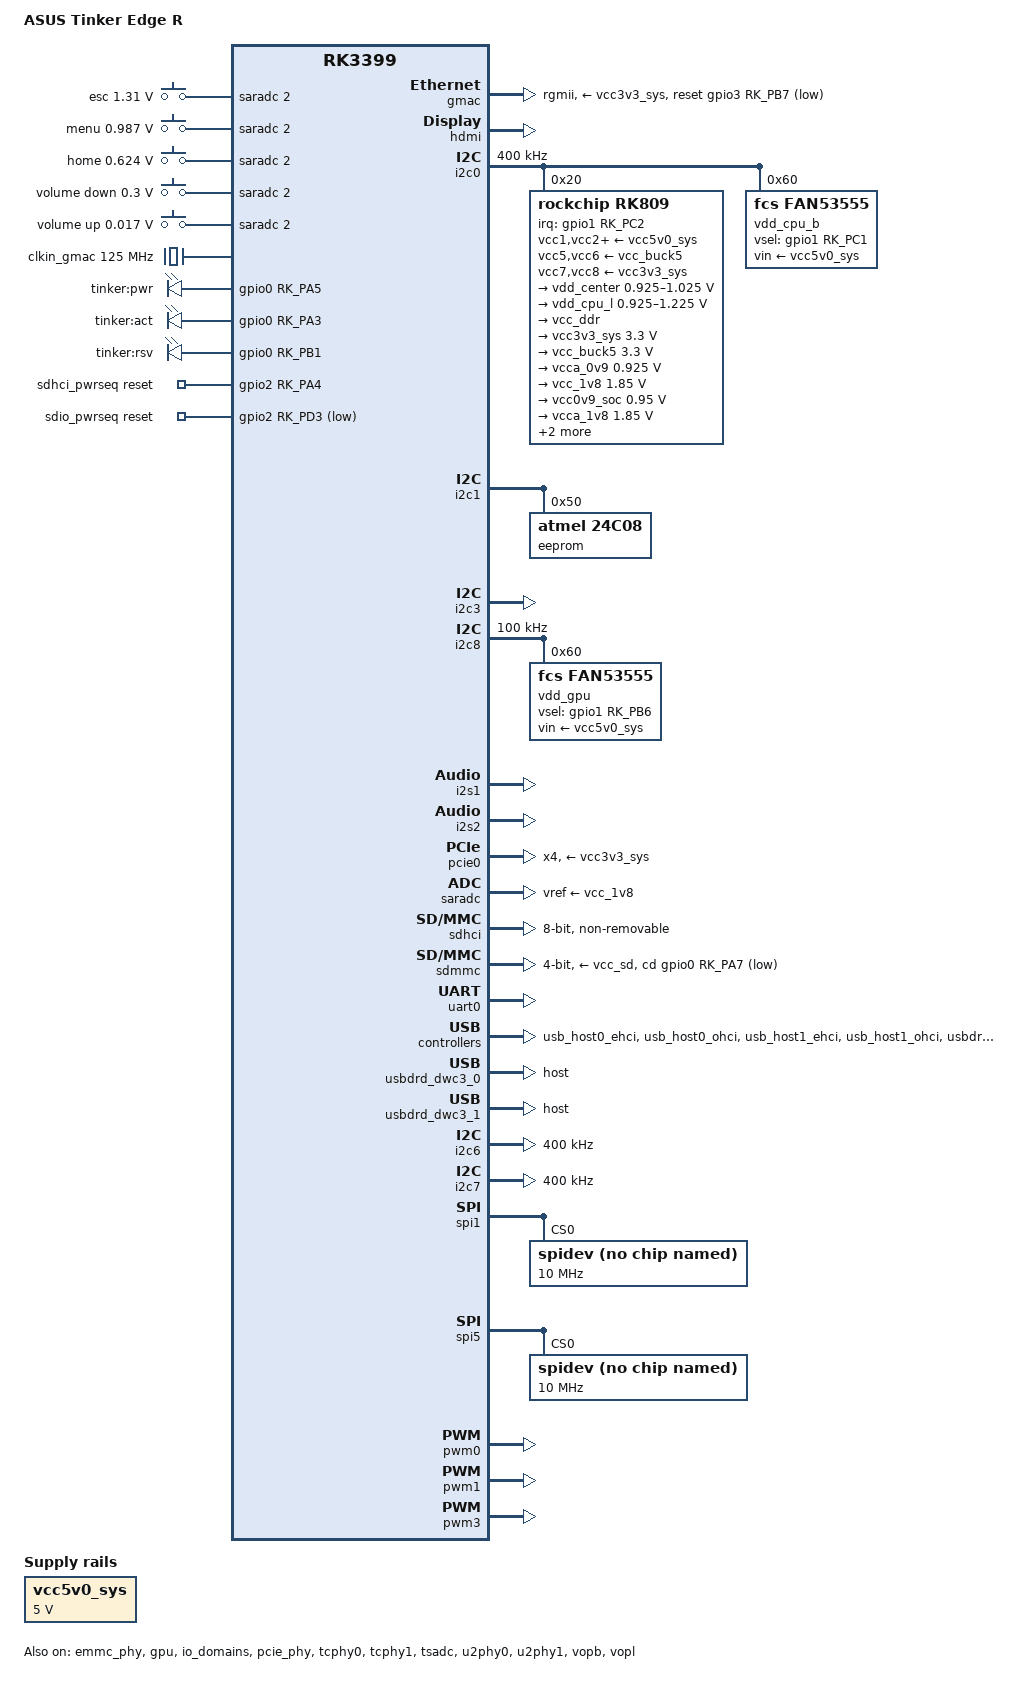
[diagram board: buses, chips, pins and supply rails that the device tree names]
// SPDX-License-Identifier: (GPL-2.0+ OR MIT)
/*
 * ASUS Tinker Edge R (Rockchip RK3399Pro) for mainline Linux.
 *
 * Ported from the vendor 4.4 DTS (TinkerEdgeR/debian-kernel,
 * rk3399pro-tinker_edge_r.dts, Copyright (c) 2018 Fuzhou Rockchip Electronics).
 * Voltages, GPIOs and bus topology are taken from that file unchanged.
 *
 * Not ported in this revision: cameras (OV5647, IMX219), ISP, MIPI DSI/LVDS/eDP
 * bridges, touch panel, IMU/compass, USB Type-C PD (FUSB302) and charger,
 * Bluetooth. The NPU is a separate chip reached over PCIe or USB.
 */

/dts-v1/;
#include <dt-bindings/gpio/gpio.h>
#include <dt-bindings/input/input.h>
#include <dt-bindings/pinctrl/rockchip.h>
#include "rk3399.dtsi"

/ {
	model = "ASUS Tinker Edge R";
	compatible = "asus,rk3399pro-tinker-edge-r", "rockchip,rk3399pro";

	aliases {
		ethernet0 = &gmac;
		/*
		 * The ASUS U-Boot appends root=/dev/mmcblk0p8 when booting from
		 * the SD card and root=/dev/mmcblk1p8 from eMMC (it ignores any
		 * other root=), so the SD slot must be mmc0 and eMMC mmc1.
		 */
		mmc0 = &sdmmc;
		mmc1 = &sdhci;
		mmc2 = &sdio0;
	};

	chosen {
		/*
		 * Console on UART0 = pins 8 (TX), 10 (RX) and GND (e.g. pin 9) of the
		 * 40-pin header, 115200 8N1, 3.3 V. UART2 (the vendor U-Boot console)
		 * is wired to the microSD socket pads and is not usable on the header.
		 * The vendor U-Boot merges bootargs into its own and adds root=.
		 */
		stdout-path = "serial0:115200n8";
		bootargs = "earlycon=uart8250,mmio32,0xff180000 console=tty1 console=ttyS0,115200n8 rw rootfstype=ext4 rootwait coherent_pool=1m";
	};

	adc-keys {
		compatible = "adc-keys";
		io-channels = <&saradc 2>;
		io-channel-names = "buttons";
		poll-interval = <100>;
		keyup-threshold-microvolt = <1800000>;

		button-esc {
			label = "esc";
			linux,code = <KEY_ESC>;
			press-threshold-microvolt = <1310000>;
		};

		button-menu {
			label = "menu";
			linux,code = <KEY_MENU>;
			press-threshold-microvolt = <987000>;
		};

		button-home {
			label = "home";
			linux,code = <KEY_HOME>;
			press-threshold-microvolt = <624000>;
		};

		button-vol-down {
			label = "volume down";
			linux,code = <KEY_VOLUMEDOWN>;
			press-threshold-microvolt = <300000>;
		};

		button-vol-up {
			label = "volume up";
			linux,code = <KEY_VOLUMEUP>;
			press-threshold-microvolt = <17000>;
		};
	};

	clkin_gmac: external-gmac-clock {
		compatible = "fixed-clock";
		clock-frequency = <125000000>;
		clock-output-names = "clkin_gmac";
		#clock-cells = <0>;
	};

	gpio-leds {
		compatible = "gpio-leds";

		led-0 {
			label = "tinker:pwr";
			gpios = <&gpio0 RK_PA5 GPIO_ACTIVE_HIGH>;
			linux,default-trigger = "default-on";
		};

		led-1 {
			label = "tinker:act";
			gpios = <&gpio0 RK_PA3 GPIO_ACTIVE_HIGH>;
			linux,default-trigger = "mmc0";
		};

		led-2 {
			label = "tinker:rsv";
			gpios = <&gpio0 RK_PB1 GPIO_ACTIVE_HIGH>;
			linux,default-trigger = "none";
		};
	};

	hdmi_sound: hdmi-sound {
		compatible = "simple-audio-card";
		simple-audio-card,name = "HDMI";
		simple-audio-card,format = "i2s";
		simple-audio-card,mclk-fs = <256>;

		simple-audio-card,cpu {
			sound-dai = <&i2s2>;
		};

		simple-audio-card,codec {
			sound-dai = <&hdmi>;
		};
	};

	/* 3.5 mm jack: RK809 codec on I2S1 */
	rk809_sound: rk809-sound {
		compatible = "simple-audio-card";
		simple-audio-card,name = "Analog RK809";
		simple-audio-card,format = "i2s";
		simple-audio-card,mclk-fs = <256>;

		simple-audio-card,cpu {
			sound-dai = <&i2s1>;
		};

		simple-audio-card,codec {
			sound-dai = <&rk809>;
		};
	};

	sdhci_pwrseq: sdhci-pwrseq {
		compatible = "mmc-pwrseq-emmc";
		pinctrl-names = "default";
		pinctrl-0 = <&emmc_reset>;
		reset-gpios = <&gpio2 RK_PA4 GPIO_ACTIVE_HIGH>;
	};

	/*
	 * On the module itself this is one of these (depending on the card
	 * populated): SDIO_RESET_L_WL_REG_ON or PDN (power down when low).
	 */
	sdio_pwrseq: sdio-pwrseq {
		compatible = "mmc-pwrseq-simple";
		clocks = <&rk809 1>;
		clock-names = "ext_clock";
		pinctrl-names = "default";
		pinctrl-0 = <&wifi_enable_h>;
		reset-gpios = <&gpio2 RK_PD3 GPIO_ACTIVE_LOW>;
	};

	vcc5v0_sys: regulator-vcc5v0-sys {
		compatible = "regulator-fixed";
		regulator-name = "vcc5v0_sys";
		regulator-always-on;
		regulator-boot-on;
		regulator-min-microvolt = <5000000>;
		regulator-max-microvolt = <5000000>;
	};
};

&cpu_l0 {
	cpu-supply = <&vdd_cpu_l>;
};

&cpu_l1 {
	cpu-supply = <&vdd_cpu_l>;
};

&cpu_l2 {
	cpu-supply = <&vdd_cpu_l>;
};

&cpu_l3 {
	cpu-supply = <&vdd_cpu_l>;
};

&cpu_b0 {
	cpu-supply = <&vdd_cpu_b>;
};

&cpu_b1 {
	cpu-supply = <&vdd_cpu_b>;
};

/*
 * DisplayPort over USB-C. Disabled on purpose: mainline cdn-dp needs an extcon
 * device that reports EXTCON_DISP_DP (the vendor fusb30x driver provides it,
 * the mainline FUSB302 driver does not). An enabled cdn-dp that fails to probe
 * keeps rockchip-drm from binding, so there would be no display output at all,
 * HDMI included. See docs/OPEN.md.
 */
&cdn_dp {
	phys = <&tcphy0_dp>;
	status = "disabled";
};

&emmc_phy {
	status = "okay";
};

&gmac {
	assigned-clocks = <&cru SCLK_RMII_SRC>;
	assigned-clock-parents = <&clkin_gmac>;
	clock_in_out = "input";
	phy-mode = "rgmii";
	phy-supply = <&vcc3v3_sys>;
	pinctrl-names = "default";
	pinctrl-0 = <&rgmii_pins>;
	snps,reset-gpio = <&gpio3 RK_PB7 GPIO_ACTIVE_LOW>;
	snps,reset-active-low;
	snps,reset-delays-us = <0 16000 72000>;
	tx_delay = <0x23>;
	rx_delay = <0x22>;
	status = "okay";
};

&gpu {
	mali-supply = <&vdd_gpu>;
	status = "okay";
};

&hdmi {
	ddc-i2c-bus = <&i2c3>;
	pinctrl-names = "default";
	pinctrl-0 = <&hdmi_cec>;
	status = "okay";
};

&i2c0 {
	clock-frequency = <400000>;
	i2c-scl-falling-time-ns = <30>;
	i2c-scl-rising-time-ns = <180>;
	status = "okay";

	rk809: pmic@20 {
		compatible = "rockchip,rk809";
		reg = <0x20>;
		interrupt-parent = <&gpio1>;
		interrupts = <RK_PC2 IRQ_TYPE_LEVEL_LOW>;
		#clock-cells = <1>;
		#sound-dai-cells = <0>;
		clock-output-names = "rk808-clkout1", "rk808-clkout2";
		clocks = <&cru SCLK_I2S_8CH_OUT>;
		clock-names = "mclk";
		pinctrl-names = "default", "pmic-sleep",
				"pmic-power-off", "pmic-reset";
		pinctrl-0 = <&pmic_int_l>, <&i2s_8ch_mclk>;
		pinctrl-1 = <&soc_slppin_slp>, <&rk809_slppin_slp>;
		pinctrl-2 = <&soc_slppin_gpio>, <&rk809_slppin_pwrdn>;
		pinctrl-3 = <&soc_slppin_gpio>, <&rk809_slppin_null>;
		rockchip,system-power-controller;
		system-power-controller;
		wakeup-source;

		vcc1-supply = <&vcc5v0_sys>;
		vcc2-supply = <&vcc5v0_sys>;
		vcc3-supply = <&vcc5v0_sys>;
		vcc4-supply = <&vcc5v0_sys>;
		vcc5-supply = <&vcc_buck5>;
		vcc6-supply = <&vcc_buck5>;
		vcc7-supply = <&vcc3v3_sys>;
		vcc8-supply = <&vcc3v3_sys>;
		vcc9-supply = <&vcc5v0_sys>;

		rk809_pinctrl: pinctrl_rk8xx {
			gpio-controller;
			#gpio-cells = <2>;

			rk809_slppin_null: rk809_slppin_null {
				pins = "gpio_slp";
				function = "pin_fun0";
			};

			rk809_slppin_slp: rk809_slppin_slp {
				pins = "gpio_slp";
				function = "pin_fun1";
			};

			rk809_slppin_pwrdn: rk809_slppin_pwrdn {
				pins = "gpio_slp";
				function = "pin_fun2";
			};

			rk809_slppin_rst: rk809_slppin_rst {
				pins = "gpio_slp";
				function = "pin_fun3";
			};
		};

		regulators {
			vdd_center: DCDC_REG1 {
				regulator-name = "vdd_center";
				regulator-always-on;
				regulator-boot-on;
				regulator-min-microvolt = <925000>;
				regulator-max-microvolt = <1025000>;
				regulator-initial-mode = <0x2>;
				regulator-state-mem {
					regulator-off-in-suspend;
					regulator-suspend-microvolt = <925000>;
				};
			};

			vdd_cpu_l: DCDC_REG2 {
				regulator-name = "vdd_cpu_l";
				regulator-always-on;
				regulator-boot-on;
				regulator-min-microvolt = <925000>;
				regulator-max-microvolt = <1225000>;
				regulator-ramp-delay = <6001>;
				regulator-initial-mode = <0x2>;
				regulator-state-mem {
					regulator-off-in-suspend;
				};
			};

			vcc_ddr: DCDC_REG3 {
				regulator-name = "vcc_ddr";
				regulator-always-on;
				regulator-boot-on;
				regulator-initial-mode = <0x2>;
				regulator-state-mem {
					regulator-on-in-suspend;
				};
			};

			vcc3v3_sys: DCDC_REG4 {
				regulator-name = "vcc3v3_sys";
				regulator-always-on;
				regulator-boot-on;
				regulator-min-microvolt = <3300000>;
				regulator-max-microvolt = <3300000>;
				regulator-initial-mode = <0x2>;
				regulator-state-mem {
					regulator-on-in-suspend;
					regulator-suspend-microvolt = <3300000>;
				};
			};

			vcc_buck5: DCDC_REG5 {
				regulator-name = "vcc_buck5";
				regulator-always-on;
				regulator-boot-on;
				regulator-min-microvolt = <3300000>;
				regulator-max-microvolt = <3300000>;
				regulator-state-mem {
					regulator-on-in-suspend;
					regulator-suspend-microvolt = <3300000>;
				};
			};

			vcca_0v9: LDO_REG1 {
				regulator-name = "vcca_0v9";
				regulator-always-on;
				regulator-boot-on;
				regulator-min-microvolt = <925000>;
				regulator-max-microvolt = <925000>;
				regulator-state-mem {
					regulator-on-in-suspend;
					regulator-suspend-microvolt = <925000>;
				};
			};

			vcc_1v8: LDO_REG2 {
				regulator-name = "vcc_1v8";
				regulator-always-on;
				regulator-boot-on;
				regulator-min-microvolt = <1850000>;
				regulator-max-microvolt = <1850000>;
				regulator-state-mem {
					regulator-on-in-suspend;
					regulator-suspend-microvolt = <1850000>;
				};
			};

			vcc0v9_soc: LDO_REG3 {
				regulator-name = "vcc0v9_soc";
				regulator-always-on;
				regulator-boot-on;
				regulator-min-microvolt = <950000>;
				regulator-max-microvolt = <950000>;
				regulator-state-mem {
					regulator-on-in-suspend;
					regulator-suspend-microvolt = <950000>;
				};
			};

			vcca_1v8: LDO_REG4 {
				regulator-name = "vcca_1v8";
				regulator-always-on;
				regulator-boot-on;
				regulator-min-microvolt = <1850000>;
				regulator-max-microvolt = <1850000>;
				regulator-state-mem {
					regulator-on-in-suspend;
					regulator-suspend-microvolt = <1850000>;
				};
			};

			vdd1v5_dvp: LDO_REG5 {
				regulator-name = "vdd1v5_dvp";
				regulator-always-on;
				regulator-boot-on;
				regulator-min-microvolt = <1850000>;
				regulator-max-microvolt = <1850000>;
				regulator-state-mem {
					regulator-off-in-suspend;
				};
			};

			vcc_1v5: LDO_REG6 {
				regulator-name = "vcc_1v5";
				regulator-always-on;
				regulator-boot-on;
				regulator-min-microvolt = <1550000>;
				regulator-max-microvolt = <1550000>;
				regulator-state-mem {
					regulator-off-in-suspend;
				};
			};

			vcc_3v0: LDO_REG7 {
				regulator-name = "vcc_3v0";
				regulator-always-on;
				regulator-boot-on;
				regulator-min-microvolt = <3075000>;
				regulator-max-microvolt = <3075000>;
				regulator-state-mem {
					regulator-off-in-suspend;
				};
			};

			vccio_sd: LDO_REG8 {
				regulator-name = "vccio_sd";
				regulator-always-on;
				regulator-boot-on;
				regulator-min-microvolt = <1850000>;
				regulator-max-microvolt = <3375000>;
				regulator-state-mem {
					regulator-off-in-suspend;
				};
			};

			vcc_sd: LDO_REG9 {
				regulator-name = "vcc_sd";
				regulator-always-on;
				regulator-boot-on;
				regulator-min-microvolt = <3375000>;
				regulator-max-microvolt = <3375000>;
				regulator-state-mem {
					regulator-off-in-suspend;
				};
			};

			vcc5v0_usb: SWITCH_REG1 {
				regulator-name = "vcc5v0_usb";
				regulator-min-microvolt = <5000000>;
				regulator-max-microvolt = <5000000>;
				regulator-state-mem {
					regulator-on-in-suspend;
					regulator-suspend-microvolt = <5000000>;
				};
			};

			vccio_3v3: SWITCH_REG2 {
				regulator-name = "vccio_3v3";
				regulator-always-on;
				regulator-boot-on;
				regulator-min-microvolt = <3300000>;
				regulator-max-microvolt = <3300000>;
				regulator-state-mem {
					regulator-on-in-suspend;
					regulator-suspend-microvolt = <3300000>;
				};
			};
		};
	};

	vdd_cpu_b: regulator@60 {
		compatible = "fcs,fan53555";
		reg = <0x60>;
		fcs,suspend-voltage-selector = <1>;
		pinctrl-names = "default";
		pinctrl-0 = <&vsel1_gpio>;
		regulator-name = "vdd_cpu_b";
		regulator-always-on;
		regulator-boot-on;
		regulator-min-microvolt = <925000>;
		regulator-max-microvolt = <1275000>;
		regulator-ramp-delay = <1000>;
		vin-supply = <&vcc5v0_sys>;
		vsel-gpios = <&gpio1 RK_PC1 GPIO_ACTIVE_HIGH>;

		regulator-state-mem {
			regulator-off-in-suspend;
		};
	};
};

&i2c1 {
	i2c-scl-falling-time-ns = <30>;
	i2c-scl-rising-time-ns = <140>;
	status = "okay";

	eeprom@50 {
		compatible = "atmel,24c08";
		reg = <0x50>;
		pagesize = <16>;
	};
};

&i2c3 {
	i2c-scl-falling-time-ns = <15>;
	i2c-scl-rising-time-ns = <450>;
	status = "okay";
};

&i2c8 {
	clock-frequency = <100000>;
	i2c-scl-falling-time-ns = <11>;
	i2c-scl-rising-time-ns = <345>;
	status = "okay";

	vdd_gpu: regulator@60 {
		compatible = "fcs,fan53555";
		reg = <0x60>;
		fcs,suspend-voltage-selector = <1>;
		pinctrl-names = "default";
		pinctrl-0 = <&vsel2_gpio>;
		regulator-name = "vdd_gpu";
		regulator-always-on;
		regulator-boot-on;
		regulator-min-microvolt = <925000>;
		regulator-max-microvolt = <1225000>;
		regulator-ramp-delay = <1000>;
		vin-supply = <&vcc5v0_sys>;
		vsel-gpios = <&gpio1 RK_PB6 GPIO_ACTIVE_HIGH>;

		regulator-state-mem {
			regulator-off-in-suspend;
		};
	};
};

&i2s1 {
	rockchip,playback-channels = <2>;
	rockchip,capture-channels = <2>;
	status = "okay";
};

&i2s2 {
	status = "okay";
};

&io_domains {
	bt656-supply = <&vcca_1v8>;
	audio-supply = <&vcca_1v8>;
	sdmmc-supply = <&vccio_sd>;
	gpio1830-supply = <&vcc_3v0>;
	status = "okay";
};

/*
 * External PCIe: the Wi-Fi module sits here on this board. The NPU does not:
 * the stock DTS has no "rockchip,deferred" property, so the NPU is loaded
 * over USB (see the -npu variant for its power sequencing).
 */
&pcie_phy {
	status = "okay";
};

&pcie0 {
	ep-gpios = <&gpio0 RK_PB4 GPIO_ACTIVE_HIGH>;
	num-lanes = <4>;
	pinctrl-names = "default";
	pinctrl-0 = <&pcie_clkreqn_cpm>;
	vpcie0v9-supply = <&vcca_0v9>;
	vpcie1v8-supply = <&vcca_1v8>;
	vpcie3v3-supply = <&vcc3v3_sys>;
	status = "okay";
};

&pinctrl {
	headphone {
		hp_det: hp-det {
			rockchip,pins = <0 RK_PB5 RK_FUNC_GPIO &pcfg_pull_up>;
		};
	};

	/* I2S master clock for the RK809 codec (GPIO4_A0, function 1) */
	i2s {
		i2s_8ch_mclk: i2s-8ch-mclk {
			rockchip,pins = <4 RK_PA0 1 &pcfg_pull_none>;
		};
	};

	npu_clk {
		npu_ref_clk: npu-ref-clk {
			rockchip,pins = <0 RK_PA2 1 &pcfg_pull_none>;
		};
	};

	pmic {
		pmic_int_l: pmic-int-l {
			rockchip,pins = <1 RK_PC2 RK_FUNC_GPIO &pcfg_pull_up>;
		};

		vsel1_gpio: vsel1-gpio {
			rockchip,pins = <1 RK_PC1 RK_FUNC_GPIO &pcfg_pull_down>;
		};

		vsel2_gpio: vsel2-gpio {
			rockchip,pins = <1 RK_PB6 RK_FUNC_GPIO &pcfg_pull_down>;
		};

		soc_slppin_gpio: soc-slppin-gpio {
			rockchip,pins = <1 RK_PA5 RK_FUNC_GPIO &pcfg_output_low>;
		};

		soc_slppin_slp: soc-slppin-slp {
			rockchip,pins = <1 RK_PA5 1 &pcfg_pull_down>;
		};

		soc_slppin_rst: soc-slppin-rst {
			rockchip,pins = <1 RK_PA5 2 &pcfg_pull_none>;
		};
	};

	sdhci-pwrseq {
		emmc_reset: emmc-reset {
			rockchip,pins = <2 RK_PA4 RK_FUNC_GPIO &pcfg_pull_none>;
		};
	};

	sdio-pwrseq {
		wifi_enable_h: wifi-enable-h {
			rockchip,pins = <2 RK_PD3 RK_FUNC_GPIO &pcfg_pull_none>;
		};
	};
};

&pmu_io_domains {
	pmu1830-supply = <&vcc_1v8>;
	status = "okay";
};

&saradc {
	vref-supply = <&vcc_1v8>;
	status = "okay";
};

/*
 * eMMC at HS200 (200 MHz, 1.8 V). HS400 Enhanced Strobe, which the vendor DT
 * uses, gives data CRC errors on this board with mainline: about 1 MB/s,
 * constant interrupts and "CQE recovery" messages. HS200 measures 158 MB/s read,
 * 52 MB/s write, no errors.
 */
&sdhci {
	bus-width = <8>;
	mmc-hs200-1_8v;
	mmc-pwrseq = <&sdhci_pwrseq>;
	non-removable;
	status = "okay";
};

/*
 * SDIO0 is disabled: nothing is connected to it (Wi-Fi is PCIe, Bluetooth is USB),
 * and its pins GPIO2_C4-C7 are the SPI5 pins of the 40-pin header (13-18); with
 * both enabled the pin controller refused the SDIO pins at every boot.
 */
&sdio0 {
	status = "disabled";
};

&sdmmc {
	bus-width = <4>;
	cap-sd-highspeed;
	cd-gpios = <&gpio0 RK_PA7 GPIO_ACTIVE_LOW>;
	disable-wp;
	max-frequency = <150000000>;
	pinctrl-names = "default";
	pinctrl-0 = <&sdmmc_clk>, <&sdmmc_cmd>, <&sdmmc_bus4>;
	sd-uhs-sdr12;
	sd-uhs-sdr25;
	sd-uhs-sdr50;
	sd-uhs-sdr104;
	vmmc-supply = <&vcc_sd>;
	vqmmc-supply = <&vccio_sd>;
	status = "okay";
};

&tcphy0 {
	status = "okay";
};

&tcphy1 {
	status = "okay";
};

&tsadc {
	rockchip,hw-tshut-mode = <1>;
	rockchip,hw-tshut-polarity = <1>;
	status = "okay";
};

&u2phy0 {
	status = "okay";

	u2phy0_otg: otg-port {
		status = "okay";
	};

	u2phy0_host: host-port {
		phy-supply = <&vcc5v0_usb>;
		status = "okay";
	};
};

&u2phy1 {
	status = "okay";

	u2phy1_otg: otg-port {
		status = "okay";
	};

	u2phy1_host: host-port {
		phy-supply = <&vcc5v0_usb>;
		status = "okay";
	};
};

/* Debug console on the 40-pin header (pins 8/10) */
&uart0 {
	status = "okay";
};

&usb_host0_ehci {
	status = "okay";
};

&usb_host0_ohci {
	status = "okay";
};

&usb_host1_ehci {
	status = "okay";
};

&usb_host1_ohci {
	status = "okay";
};

/*
 * Host mode only for now: the Type-C port is also the power input and its
 * FUSB302 PD controller is not described yet, so VBUS output stays off.
 */
&usbdrd3_0 {
	status = "okay";
};

&usbdrd_dwc3_0 {
	dr_mode = "host";
	status = "okay";
};

&usbdrd3_1 {
	status = "okay";
};

&usbdrd_dwc3_1 {
	dr_mode = "host";
	status = "okay";
};

&vopb {
	status = "okay";
};

&vopb_mmu {
	status = "okay";
};

&vopl {
	status = "okay";
};

&vopl_mmu {
	status = "okay";
};

/*
 * 40-pin header (3.3 V). Functions as in the ASUS pin table (docs/GPIO.md):
 *   pins 3, 5     I2C6  (/dev/i2c-6)       pins 27, 28   I2C7 (/dev/i2c-7)
 *   pins 13-18    SPI5  (/dev/spidev5.0)   pins 19-24    SPI1 (/dev/spidev1.0)
 *   pin 32 PWM0, pin 33 PWM1, pin 26 PWM3 (channel A) (/sys/class/pwm)
 *   pins 8, 10    UART0 (console, ttyS0)
 * Everything else is a plain GPIO (libgpiod). UART0 RTS/CTS (pins 11, 36) stay GPIO
 * on purpose: with hardware flow control and an unconnected CTS pin the console
 * would stop transmitting. UART4 shares pins 19 and 21 with SPI1; SPI1 is enabled.
 * The "rohm,dh2228fv" compatible is how mainline lets the generic spidev driver
 * bind to a device tree node.
 */
&i2c6 {
	clock-frequency = <400000>;
	i2c-scl-falling-time-ns = <30>;
	i2c-scl-rising-time-ns = <180>;
	status = "okay";
};

&i2c7 {
	clock-frequency = <400000>;
	i2c-scl-falling-time-ns = <30>;
	i2c-scl-rising-time-ns = <180>;
	status = "okay";
};

&spi1 {
	status = "okay";

	spidev@0 {
		compatible = "rohm,dh2228fv";
		reg = <0>;
		spi-max-frequency = <10000000>;
	};
};

&spi5 {
	status = "okay";

	spidev@0 {
		compatible = "rohm,dh2228fv";
		reg = <0>;
		spi-max-frequency = <10000000>;
	};
};

&pwm0 {
	status = "okay";
};

&pwm1 {
	status = "okay";
};

&pwm3 {
	status = "okay";
};
